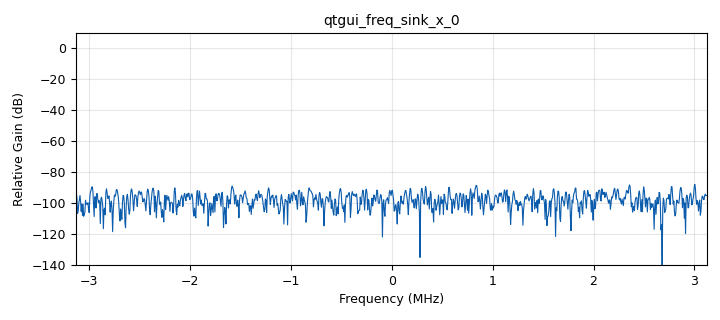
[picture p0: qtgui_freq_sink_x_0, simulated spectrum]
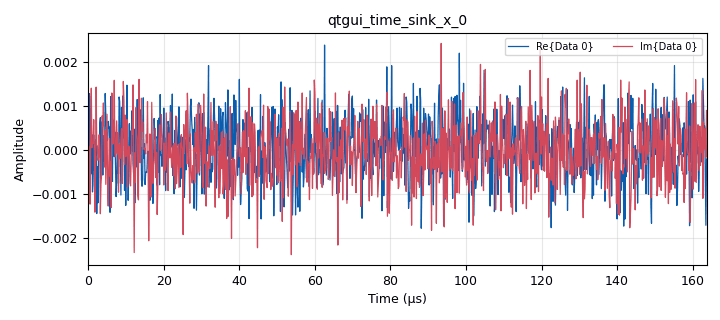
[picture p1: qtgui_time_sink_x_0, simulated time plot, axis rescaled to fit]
options:
  parameters:
    author: David y Jorge
    copyright: UIS
    generate_options: qt_gui
    id: Primerapractica_H1G1
    output_language: python
    title: Primera Practica Ancho de Banda
  states: {}

blocks:
- name: GTX
  id: variable_qtgui_range
  parameters:
    label: Ganancia transmisor
    start: '0'
    step: '1'
    stop: '30'
    value: '6'
  states: {}
- name: N0
  id: variable_qtgui_range
  parameters:
    label: Amplitud ruido
    start: '1e-6'
    step: '1e-6'
    stop: '500e-3'
    value: '1e-3'
  states: {}
- name: fc
  id: variable_qtgui_range
  parameters:
    label: Frecuencia Portadora
    start: 50e6
    step: 1e6
    stop: 2.2e9
    value: 200e6
  states: {}
- name: samp_rate
  id: variable
  parameters:
    value: 12500000/2
  states: {}
- name: analog_noise_source_x_0
  id: analog_noise_source_x
  parameters:
    amp: N0
    noise_type: analog.GR_GAUSSIAN
    seed: '0'
    type: complex
  states: {}
- name: blocks_throttle_0
  id: blocks_throttle
  parameters:
    samples_per_second: samp_rate
    type: complex
  states: {}
- name: qtgui_freq_sink_x_0
  id: qtgui_freq_sink_x
  parameters:
    bw: samp_rate
    fc: '0'
    fftsize: '1024'
    type: complex
  states: {}
- name: qtgui_time_sink_x_0
  id: qtgui_time_sink_x
  parameters:
    size: '1024'
    srate: samp_rate
    type: complex
  states: {}
- name: uhd_usrp_sink_0
  id: uhd_usrp_sink
  parameters:
    ant0: '"TX/RX"'
    center_freq0: fc
    gain0: GTX
    samp_rate: samp_rate
    sync: pc_clock
    type: fc32
  states: {}

connections:
- [analog_noise_source_x_0, '0', blocks_throttle_0, '0']
- [blocks_throttle_0, '0', qtgui_freq_sink_x_0, '0']
- [blocks_throttle_0, '0', qtgui_time_sink_x_0, '0']
- [blocks_throttle_0, '0', uhd_usrp_sink_0, '0']

metadata:
  file_format: 1
